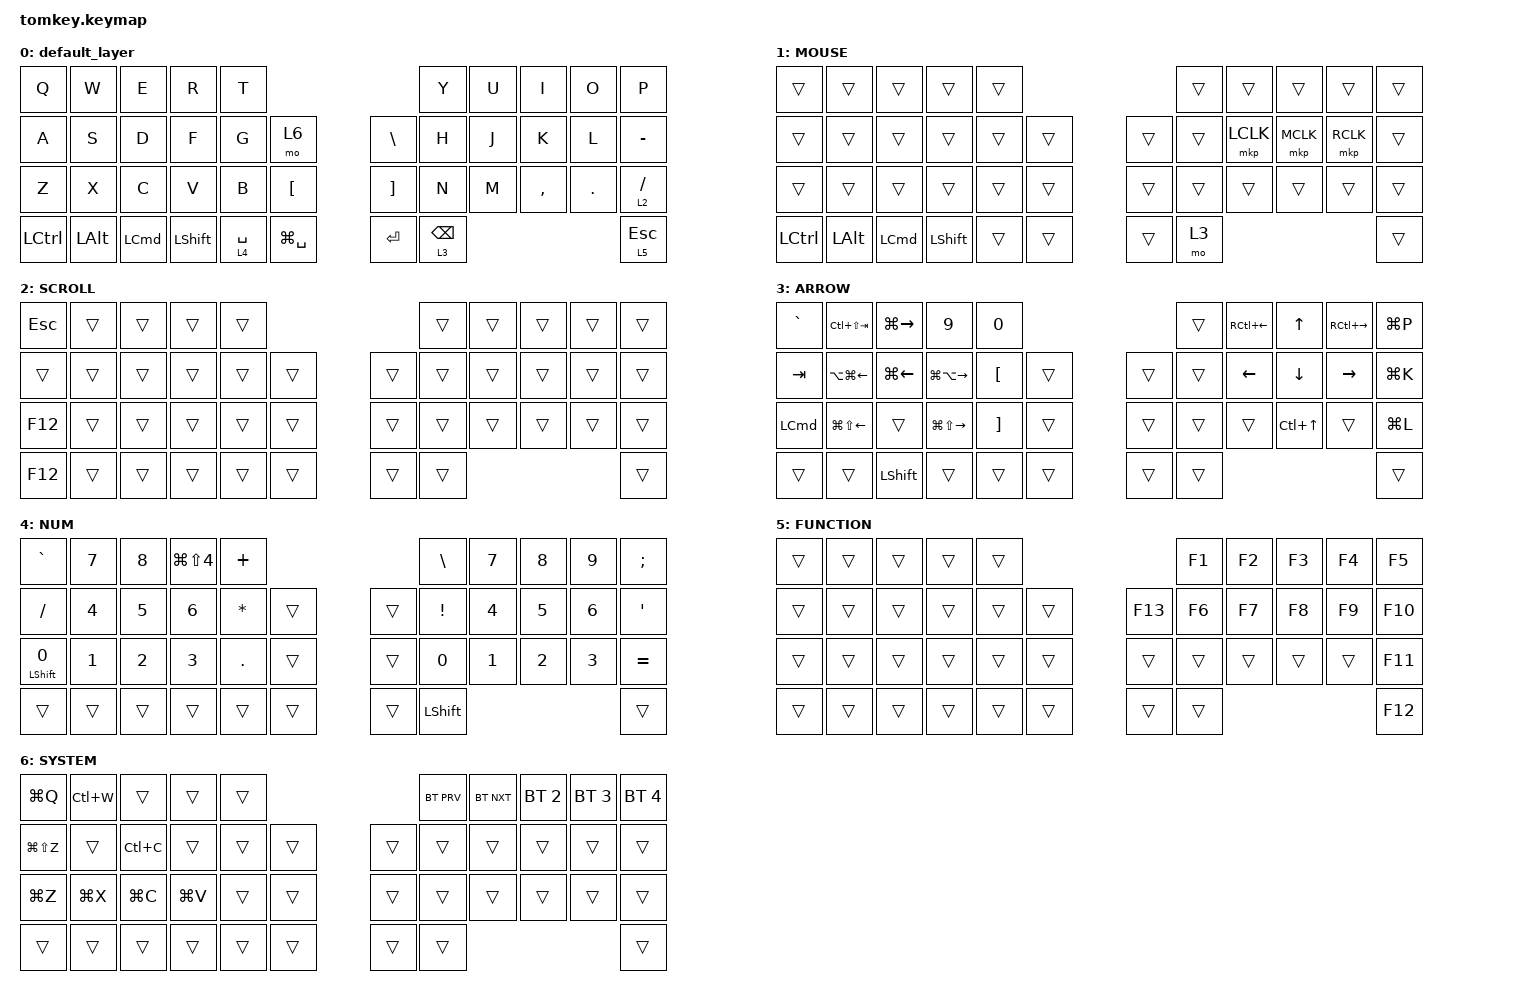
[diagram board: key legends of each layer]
#include <behaviors.dtsi>
#include <dt-bindings/zmk/bt.h>
#include <dt-bindings/zmk/keys.h>
#include <dt-bindings/zmk/mouse.h>

/ {
    keymap {
        compatible = "zmk,keymap";

        default_layer {
            // -----------------------------------------------------------------------------------------
            // |  Q  |  W  |  E  |  R  |  T  |       |  Y  |  U  |  I  |  O  |  P  |
            // |  A  |  S  |  D  |  F  |  G  | MO6   | \ | |  H  |  J  |  K  |  L  | - _ |
            // |  Z  |  X  |  C  |  V  |  B  | [ { | ] } |  N  |  M  | , < | . > |LT2/| 
            // |CTRL|ALT |CMD |SHFT|LT4/SPC|CMD+SPC| ENT |LT3/BSPC|           | LT5/ESC |
            bindings = <
&kp Q      &kp W         &kp E             &kp R           &kp T                                                 &kp Y            &kp U     &kp I         &kp O    &kp P
&kp A      &kp S         &kp D             &kp F           &kp G        &mo 6                 &kp BACKSLASH      &kp H            &kp J     &kp K         &kp L    &kp MINUS
&kp Z      &kp X         &kp C             &kp V           &kp B        &kp LEFT_BRACKET      &kp RIGHT_BRACKET  &kp N            &kp M     &kp COMMA     &kp DOT  &lt 2 SLASH
&kp LCTRL  &kp LEFT_ALT  &kp LEFT_COMMAND  &kp LEFT_SHIFT  &lt 4 SPACE  &kp LG(SPACE)         &kp ENTER          &lt 3 BACKSPACE                                   &lt 5 ESCAPE
            >;
        };

        MOUSE {
            // -----------------------------------------------------------------------------------------
            // Mouse layer for trackball control
            // |     |     |     |     |     |       |     |     |     |     |     |
            // |     |     |     |     |     |     | |     |     | LMB | MMB | RMB |     |
            // |     |     |     |     |     |     | |     |     |     |     |     |     |
            // |CTRL | ALT | CMD |SHFT |     |     | |     | MO3 |           |     |
            bindings = <
&trans         &trans         &trans            &trans          &trans                                           &trans           &trans    &trans        &trans      &trans
&trans         &trans         &trans            &trans          &trans       &trans           &trans             &trans           &mkp LCLK &mkp MCLK     &mkp RCLK   &trans
&trans         &trans         &trans            &trans          &trans       &trans           &trans             &trans           &trans    &trans        &trans      &trans
&kp LCTRL      &kp LEFT_ALT   &kp LEFT_COMMAND  &kp LEFT_SHIFT  &trans       &trans           &trans             &mo 3                                                &trans
            >;
        };

        SCROLL {
            // -----------------------------------------------------------------------------------------
            // Scroll layer
            // | ESC |     |     |     |     |       |     |     |     |     |     |
            // |     |     |     |     |     |     | |     |     |     |     |     |     |
            // | F12 |     |     |     |     |     | |     |     |     |     |     |     |
            // | F12 |     |     |     |     |     | |     |     |           |     |
            bindings = <
&kp ESCAPE  &trans  &trans  &trans  &trans                      &trans  &trans  &trans  &trans  &trans
&trans      &trans  &trans  &trans  &trans  &trans      &trans  &trans  &trans  &trans  &trans  &trans
&kp F12     &trans  &trans  &trans  &trans  &trans      &trans  &trans  &trans  &trans  &trans  &trans
&kp F12     &trans  &trans  &trans  &trans  &trans      &trans  &trans                          &trans
            >;
        };

        ARROW {
            // -----------------------------------------------------------------------------------------
            // Navigation and shortcuts layer
            // | ` ~ |Cmd+Shift+Tab| Cmd+→ | 9 | 0 |       |     | Ctrl+← | ↑ | Ctrl+→ | Cmd+P |
            // | Tab |Opt+Cmd+← | Cmd+← |Cmd+Opt+→| [ { |     | |     | ← | ↓ | → | Cmd+K |
            // | Cmd |Cmd+Shift+← |     |Cmd+Shift+→| ] } |     | |     |     | Ctrl+↑ |     | Cmd+L |
            // |     |     | Shift |     |     |     | |     |     |           |     |
            bindings = <
&kp GRAVE  &kp LC(LS(TAB))         &kp LG(RIGHT)   &kp NUMBER_9            &kp NUMBER_0                                   &trans  &kp RC(LEFT_ARROW)  &kp UP_ARROW      &kp RC(RIGHT_ARROW)  &kp LG(P)
&kp TAB    &kp LA(LG(LEFT_ARROW))  &kp LG(LEFT)    &kp LG(LA(RIGHT_ARROW)) &kp LEFT_BRACKET   &trans      &trans  &trans  &kp LEFT_ARROW      &kp DOWN_ARROW    &kp RIGHT_ARROW      &kp LG(K)
&kp LCMD   &kp LG(LS(LEFT_ARROW))  &trans          &kp LG(LS(RIGHT_ARROW)) &kp RIGHT_BRACKET  &trans      &trans  &trans  &trans              &kp LC(UP_ARROW)  &trans               &kp LG(L)
&trans     &trans                  &kp LEFT_SHIFT  &trans                  &trans             &trans      &trans  &trans                                                              &trans
            >;
        };

        NUM {
            // -----------------------------------------------------------------------------------------
            // Numbers and symbols layer
            // | ` ~ | 7 | 8 |Cmd+Shift+4| + |       | \ | | 7 | 8 | 9 | ; : |
            // | / ? | 4 | 5 | 6 | * |     | | ! | 4 | 5 | 6 | ' " |
            // |Shift/0| 1 | 2 | 3 | . |     | | 0 | 1 | 2 | 3 | = + |
            // |     |     |     |     |     |     | |Shift|           |     |
            bindings = <
&kp GRAVE                &kp NUMBER_7  &kp NUMBER_8  &kp LG(LS(NUMBER_4))  &kp PLUS                          &kp BACKSLASH    &kp NUMBER_7  &kp NUMBER_8  &kp NUMBER_9  &kp SEMICOLON
&kp SLASH                &kp NUMBER_4  &kp NUMBER_5  &kp NUMBER_6          &kp ASTERISK  &trans      &trans  &kp EXCLAMATION  &kp NUMBER_4  &kp NUMBER_5  &kp NUMBER_6  &kp SQT
&mt LEFT_SHIFT NUMBER_0  &kp NUMBER_1  &kp NUMBER_2  &kp NUMBER_3          &kp PERIOD    &trans      &trans  &kp NUMBER_0     &kp NUMBER_1  &kp NUMBER_2  &kp NUMBER_3  &kp EQUAL
&trans                   &trans        &trans        &trans                &trans        &trans      &trans  &kp LEFT_SHIFT                                             &trans
            >;
        };

        FUNCTION {
            // -----------------------------------------------------------------------------------------
            // Function keys layer
            // |     |     |     |     |     |       | F1 | F2 | F3 | F4 | F5 |
            // |     |     |     |     |     |     |F13| F6 | F7 | F8 | F9 | F10|
            // |     |     |     |     |     |     | | |     |     |     |     | F11|
            // |     |     |     |     |     |     | |     |           | F12|
            bindings = <
&trans  &trans  &trans  &trans  &trans                       &kp F1  &kp F2  &kp F3  &kp F4  &kp F5
&trans  &trans  &trans  &trans  &trans  &trans      &kp F13  &kp F6  &kp F7  &kp F8  &kp F9  &kp F10
&trans  &trans  &trans  &trans  &trans  &trans      &trans   &trans  &trans  &trans  &trans  &kp F11
&trans  &trans  &trans  &trans  &trans  &trans      &trans   &trans                          &kp F12
            >;
        };

        SYSTEM {
            // -----------------------------------------------------------------------------------------
            // System and Bluetooth layer
            // |Cmd+Q|Ctrl+W|     |     |     |       |BT Prv|BT Nxt|BT 2|BT 3|BT 4|
            // |Cmd+Shift+Z|  |Ctrl+C|     |     |     | |     |     |     |     |     |
            // |Cmd+Z|Cmd+X|Cmd+C|Cmd+V|     |     | |     |     |     |     |     |
            // |     |     |     |     |     |     | |     |           |     |
            bindings = <
&kp LG(Q)      &kp LC(W)  &trans     &trans     &trans                      &bt BT_PRV     &bt BT_NXT       &bt BT_SEL 2  &bt BT_SEL 3  &bt BT_SEL 4
&kp LG(LS(Z))  &trans     &kp LC(C)  &trans     &trans  &trans      &trans  &trans         &trans           &trans        &trans        &trans
&kp LG(Z)      &kp LG(X)  &kp LG(C)  &kp LG(V)  &trans  &trans      &trans  &trans         &trans           &trans        &trans        &trans
&trans         &trans     &trans     &trans     &trans  &trans      &trans  &trans                                                      &trans
            >;
        };
    };
};
